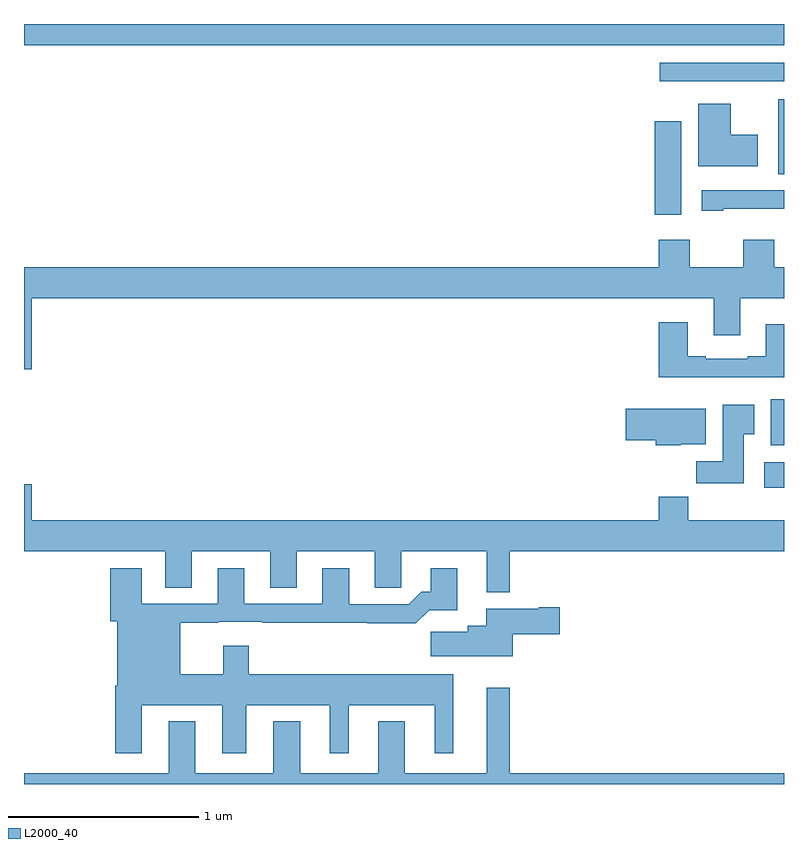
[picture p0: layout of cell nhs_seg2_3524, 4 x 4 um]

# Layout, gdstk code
import gdstk
lib = gdstk.Library(unit=1e-6, precision=1e-09)
def R(c, l, rs):  # rectangles x0, y0, x1, y1
    for r in rs: c.add(gdstk.rectangle(r[:2], r[2:], *l))
def P(c, l, *ps):  # polygons
    for p in ps: c.add(gdstk.Polygon(p, *l))
L2000_40 = (2000, 40)

nhs_seg2_3524 = lib.new_cell('nhs_seg2_3524')
R(nhs_seg2_3524, L2000_40, [(300.897,593.36,301,593.494), (300.929,593.582,301,593.824), (300.32,594.795,300.46,595.288), (300.971,595.009,301,595.405), (300.345,595.5,301,595.596), (297,595.688,301,595.8)])
P(nhs_seg2_3524, L2000_40, [(300.862,595.216),(300.721,595.216),(300.721,595.381),(300.548,595.381),(300.548,595.052),(300.862,595.052)],
  [(300.679,594.827),(301,594.827),(301,594.924),(300.567,594.924),(300.567,594.816),(300.679,594.816)],
  [(297.04,594.356),(300.629,594.356),(300.629,594.162),(300.769,594.162),(300.769,594.356),(301,594.356),(301,594.52),(300.949,594.52),(300.949,594.664),(300.785,594.664),(300.785,594.52),(300.505,594.52),(300.505,594.664),(300.341,594.664),(300.341,594.52),(297,594.52),(297,593.982),(297.04,593.982)],
  [(301,594.22),(300.905,594.22),(300.905,594.052),(300.809,594.052),(300.809,594.039),(300.589,594.039),(300.589,594.052),(300.493,594.052),(300.493,594.229),(300.341,594.229),(300.341,593.942),(301,593.942)],
  [(300.787,593.641),(300.844,593.641),(300.844,593.797),(300.677,593.797),(300.677,593.5),(300.538,593.5),(300.538,593.382),(300.787,593.382)],
  [(300.456,593.588),(300.589,593.588),(300.589,593.776),(300.168,593.776),(300.168,593.608),(300.326,593.608),(300.326,593.582),(300.456,593.582)],
  [(299.557,593.024),(301,593.024),(301,593.188),(300.497,593.188),(300.497,593.312),(300.341,593.312),(300.341,593.188),(297.04,593.188),(297.04,593.377),(297,593.377),(297,593.024),(297.743,593.024),(297.743,592.834),(297.883,592.834),(297.883,593.024),(298.295,593.024),(298.295,592.834),(298.435,592.834),(298.435,593.024),(298.847,593.024),(298.847,592.834),(298.986,592.834),(298.986,593.024),(299.435,593.024),(299.435,592.808),(299.557,592.808)],
  [(297.619,592.214),(298.043,592.214),(298.043,591.963),(298.171,591.963),(298.171,592.214),(298.61,592.214),(298.61,591.963),(298.708,591.963),(298.708,592.214),(299.162,592.214),(299.162,591.963),(299.26,591.963),(299.26,592.378),(298.184,592.378),(298.184,592.528),(298.049,592.528),(298.049,592.378),(297.823,592.378),(297.823,592.648),(298.023,592.648),(298.023,592.653),(298.255,592.653),(298.255,592.648),(298.807,592.648),(298.807,592.646),(299.063,592.646),(299.132,592.715),(299.281,592.715),(299.281,592.936),(299.141,592.936),(299.141,592.813),(299.092,592.813),(299.025,592.746),(298.711,592.746),(298.711,592.936),(298.571,592.936),(298.571,592.749),(298.159,592.749),(298.159,592.936),(298.019,592.936),(298.019,592.749),(297.619,592.749),(297.619,592.936),(297.455,592.936),(297.455,592.656),(297.491,592.656),(297.491,592.318),(297.479,592.318),(297.479,591.963),(297.619,591.963)],
  [(299.572,592.589),(299.821,592.589),(299.821,592.731),(299.708,592.731),(299.708,592.723),(299.432,592.723),(299.432,592.633),(299.336,592.633),(299.336,592.601),(299.142,592.601),(299.142,592.472),(299.572,592.472)],
  [(301,591.856),(299.557,591.856),(299.557,592.306),(299.435,592.306),(299.435,591.856),(299.005,591.856),(299.005,592.129),(298.865,592.129),(298.865,591.856),(298.453,591.856),(298.453,592.129),(298.313,592.129),(298.313,591.856),(297.901,591.856),(297.901,592.129),(297.761,592.129),(297.761,591.856),(297,591.856),(297,591.8),(301,591.8)])

lib.write_gds('nhs_seg2_3524.gds')
